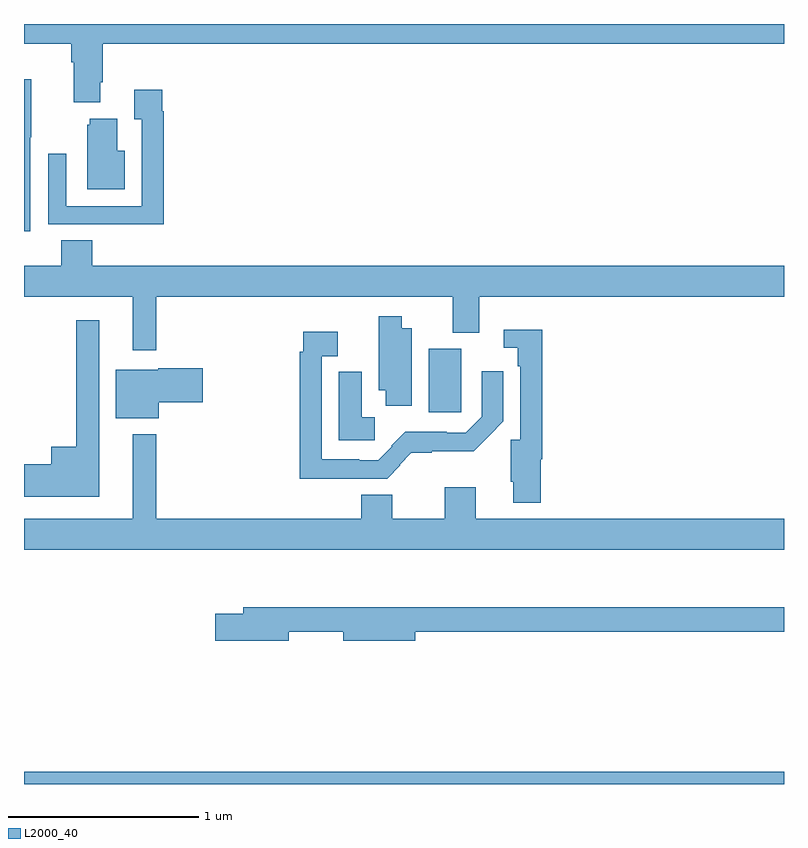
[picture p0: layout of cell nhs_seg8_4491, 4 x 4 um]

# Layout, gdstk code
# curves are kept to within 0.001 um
import gdstk
lib = gdstk.Library(unit=1e-6, precision=1e-09)
def R(c, l, rs):  # rectangles x0, y0, x1, y1
    for r in rs: c.add(gdstk.rectangle(r[:2], r[2:], *l))
def P(c, l, *ps):  # polygons
    for p in ps: c.add(gdstk.Polygon(p, *l))
L2000_40 = (2000, 40)

nhs_seg8_4491 = lib.new_cell('nhs_seg8_4491')
R(nhs_seg8_4491, L2000_40, [(383,1149.9,387,1149.964), (385.13,1151.856,385.3,1152.19)])
P(nhs_seg8_4491, L2000_40, [(383.401,1153.594),(383.414,1153.594),(383.414,1153.796),(387,1153.796),(387,1153.9),(383,1153.9),(383,1153.796),(383.249,1153.796),(383.249,1153.7),(383.261,1153.7),(383.261,1153.487),(383.401,1153.487)],
  [(383.034,1153.303),(383.037,1153.303),(383.037,1153.61),(383,1153.61),(383,1152.81),(383.034,1152.81)],
  [(383.735,1153.442),(383.728,1153.442),(383.728,1153.555),(383.579,1153.555),(383.579,1153.399),(383.619,1153.399),(383.619,1152.942),(383.223,1152.942),(383.223,1153.216),(383.127,1153.216),(383.127,1152.846),(383.443,1152.846),(383.443,1152.845),(383.735,1152.845)],
  [(383.53,1153.234),(383.491,1153.234),(383.491,1153.402),(383.345,1153.402),(383.345,1153.371),(383.333,1153.371),(383.333,1153.031),(383.53,1153.031)],
  [(383.195,1152.761),(383.195,1152.628),(383,1152.628),(383,1152.464),(383.573,1152.464),(383.573,1152.183),(383.695,1152.183),(383.695,1152.464),(385.256,1152.464),(385.256,1152.275),(385.396,1152.275),(385.396,1152.464),(387,1152.464),(387,1152.628),(383.36,1152.628),(383.36,1152.761)],
  [(385.042,1152.298),(384.988,1152.298),(384.988,1152.361),(384.866,1152.361),(384.866,1151.972),(384.905,1151.972),(384.905,1151.892),(385.042,1151.892)],
  [(383.395,1152.34),(383.274,1152.34),(383.274,1151.674),(383.144,1151.674),(383.144,1151.582),(383,1151.582),(383,1151.411),(383.395,1151.411)],
  [(385.721,1151.609),(385.727,1151.609),(385.727,1152.292),(385.524,1152.292),(385.524,1152.195),(385.599,1152.195),(385.599,1152.098),(385.611,1152.098),(385.611,1151.712),(385.562,1151.712),(385.562,1151.491),(385.574,1151.491),(385.574,1151.381),(385.721,1151.381)],
  [(384.981,1151.577),(384.977,1151.581),(385.039,1151.643),(385.147,1151.643),(385.147,1151.651),(385.367,1151.651),(385.522,1151.808),(385.522,1152.073),(385.41,1152.073),(385.41,1151.832),(385.326,1151.748),(385.226,1151.748),(385.226,1151.753),(385.007,1151.753),(384.933,1151.679),(384.936,1151.676),(384.864,1151.604),(384.764,1151.604),(384.764,1151.608),(384.567,1151.608),(384.567,1152.152),(384.65,1152.152),(384.65,1152.28),(384.471,1152.28),(384.471,1152.176),(384.451,1152.176),(384.451,1151.507),(384.911,1151.507)],
  [(383.71,1151.909),(383.941,1151.909),(383.941,1152.087),(383.706,1152.087),(383.706,1152.079),(383.483,1152.079),(383.483,1151.825),(383.71,1151.825)],
  [(384.847,1151.83),(384.778,1151.83),(384.778,1152.071),(384.656,1152.071),(384.656,1151.71),(384.847,1151.71)],
  [(387,1151.296),(385.378,1151.296),(385.378,1151.461),(385.214,1151.461),(385.214,1151.296),(384.937,1151.296),(384.937,1151.422),(384.776,1151.422),(384.776,1151.296),(383.695,1151.296),(383.695,1151.74),(383.573,1151.74),(383.573,1151.296),(383,1151.296),(383,1151.132),(387,1151.132)],
  [(384.394,1150.702),(384.68,1150.702),(384.68,1150.655),(385.06,1150.655),(385.06,1150.702),(387,1150.702),(387,1150.831),(384.155,1150.831),(384.155,1150.797),(384.006,1150.797),(384.006,1150.655),(384.394,1150.655)])

lib.write_gds('nhs_seg8_4491.gds')
